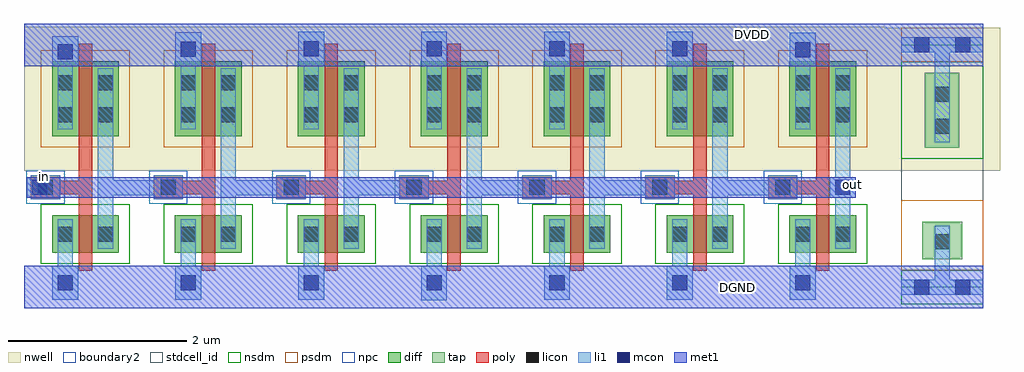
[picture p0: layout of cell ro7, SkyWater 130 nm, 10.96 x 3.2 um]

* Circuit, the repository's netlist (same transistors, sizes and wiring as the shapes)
* NGSPICE file created from ro7.ext - technology: sky130A

.subckt ro7 out DGND DVDD
X0 a_n1815_125# out DVDD DVDD sky130_fd_pr__pfet_01v8 ad=0.252 pd=2.28 as=0.252 ps=2.28 w=0.84 l=0.15
X1 a_n1539_125# a_n1815_125# DGND DGND sky130_fd_pr__nfet_01v8 ad=0.126 pd=1.44 as=0.126 ps=1.44 w=0.42 l=0.15
X2 a_n1539_125# a_n1815_125# DVDD DVDD sky130_fd_pr__pfet_01v8 ad=0.252 pd=2.28 as=0.252 ps=2.28 w=0.84 l=0.15
X3 a_n1263_125# a_n1539_125# DGND DGND sky130_fd_pr__nfet_01v8 ad=0.126 pd=1.44 as=0.126 ps=1.44 w=0.42 l=0.15
X4 a_n1263_125# a_n1539_125# DVDD DVDD sky130_fd_pr__pfet_01v8 ad=0.252 pd=2.28 as=0.252 ps=2.28 w=0.84 l=0.15
X5 a_n987_125# a_n1263_125# DGND DGND sky130_fd_pr__nfet_01v8 ad=0.126 pd=1.44 as=0.126 ps=1.44 w=0.42 l=0.15
X6 a_n987_125# a_n1263_125# DVDD DVDD sky130_fd_pr__pfet_01v8 ad=0.252 pd=2.28 as=0.252 ps=2.28 w=0.84 l=0.15
X7 a_n711_125# a_n987_125# DVDD DVDD sky130_fd_pr__pfet_01v8 ad=0.252 pd=2.28 as=0.252 ps=2.28 w=0.84 l=0.15
X8 a_n711_125# a_n987_125# DGND DGND sky130_fd_pr__nfet_01v8 ad=0.126 pd=1.44 as=0.126 ps=1.44 w=0.42 l=0.15
X9 a_n435_125# a_n711_125# DGND DGND sky130_fd_pr__nfet_01v8 ad=0.126 pd=1.44 as=0.126 ps=1.44 w=0.42 l=0.15
X10 a_n435_125# a_n711_125# DVDD DVDD sky130_fd_pr__pfet_01v8 ad=0.252 pd=2.28 as=0.252 ps=2.28 w=0.84 l=0.15
X11 out a_n435_125# DGND DGND sky130_fd_pr__nfet_01v8 ad=0.126 pd=1.44 as=0.126 ps=1.44 w=0.42 l=0.15
X12 out a_n435_125# DVDD DVDD sky130_fd_pr__pfet_01v8 ad=0.252 pd=2.28 as=0.252 ps=2.28 w=0.84 l=0.15
X13 a_n1815_125# out DGND DGND sky130_fd_pr__nfet_01v8 ad=0.126 pd=1.44 as=0.126 ps=1.44 w=0.42 l=0.15
.ends

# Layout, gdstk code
import gdstk
lib = gdstk.Library(unit=1e-6, precision=1e-09)
def R(c, l, rs):  # rectangles x0, y0, x1, y1
    for r in rs: c.add(gdstk.rectangle(r[:2], r[2:], *l))
nwell = (64, 20)
diff = (65, 20)
tap = (65, 44)
poly = (66, 20)
licon = (66, 44)
li1 = (67, 20)
mcon = (67, 44)
met1 = (68, 20)
stdcell_id = (81, 4)
nsdm = (93, 44)
psdm = (94, 20)
npc = (95, 20)
boundary2 = (236, 0)

tap_ = lib.new_cell('tap')
R(tap_, nwell, [(-0.19,1.305,1.11,2.91)])
R(tap_, tap, [(0.235,0.315,0.685,0.735), (0.265,1.565,0.655,2.405)])
R(tap_, licon, [(0.375,0.425,0.545,0.595), (0.375,1.72,0.545,1.89), (0.375,2.08,0.545,2.25)])
R(tap_, li1, [(0,-0.085,0.92,0.085), (0.375,0,0.545,0.69), (0.375,1.625,0.545,2.72), (0,2.635,0.92,2.805)])
R(tap_, mcon, [(0.145,-0.085,0.315,0.085), (0.605,-0.085,0.775,0.085), (0.145,2.635,0.315,2.805), (0.605,2.635,0.775,2.805)])
R(tap_, met1, [(0,-0.24,0.92,0.24), (0,2.48,0.92,2.96)])
R(tap_, stdcell_id, [(0,0,0.92,2.72)])
R(tap_, nsdm, [(0,-0.19,0.92,0.19), (0,1.44,0.92,2.53)])
R(tap_, psdm, [(0,0.19,0.92,0.975), (0,2.53,0.92,2.91)])
R(tap_, boundary2, [(0,0,0.92,2.72)])
tap_.add(gdstk.Label('tap', (0,0), layer=83, texttype=44))

pfet = lib.new_cell('pfet')
R(pfet, nwell, [(-0.315,-0.39,1.065,1.23)])
R(pfet, diff, [(0,0,0.75,0.84)])
R(pfet, poly, [(0.3,-0.2,0.45,1.04)])
R(pfet, licon, [(0.065,0.155,0.235,0.325), (0.515,0.155,0.685,0.325), (0.065,0.515,0.235,0.685), (0.515,0.515,0.685,0.685)])
R(pfet, li1, [(0.065,0.075,0.235,0.765), (0.515,0.075,0.685,0.765)])
R(pfet, psdm, [(-0.125,-0.125,0.875,0.965)])

nfet = lib.new_cell('nfet')
R(nfet, diff, [(0,0,0.75,0.42)])
R(nfet, poly, [(0.3,-0.2,0.45,0.62)])
R(nfet, licon, [(0.065,0.125,0.235,0.295), (0.515,0.125,0.685,0.295)])
R(nfet, li1, [(0.065,0.045,0.235,0.375), (0.515,0.045,0.685,0.375)])
R(nfet, nsdm, [(-0.125,-0.125,0.875,0.545)])

vias_gen = lib.new_cell('vias_gen')
R(vias_gen, li1, [(0,0,0.29,0.335)])
R(vias_gen, mcon, [(0.06,0.08,0.23,0.25)])
R(vias_gen, met1, [(0,0,0.29,0.335)])

vias_gen_1 = lib.new_cell('vias_gen$1')
R(vias_gen_1, li1, [(0,0,0.29,0.38)])
R(vias_gen_1, mcon, [(0.06,0.105,0.23,0.275)])
R(vias_gen_1, met1, [(0,0,0.29,0.38)])

vias_gen_2 = lib.new_cell('vias_gen$2')
R(vias_gen_2, li1, [(0,0,0.29,0.385)])
R(vias_gen_2, mcon, [(0.06,0.11,0.23,0.28)])
R(vias_gen_2, met1, [(0,0,0.29,0.385)])

vias_gen_3 = lib.new_cell('vias_gen$3')
R(vias_gen_3, li1, [(0,0,0.29,0.375)])
R(vias_gen_3, mcon, [(0.06,0.1,0.23,0.27)])
R(vias_gen_3, met1, [(0,0,0.29,0.375)])

vias_gen_4 = lib.new_cell('vias_gen$4')
R(vias_gen_4, poly, [(0,0,0.33,0.27)])
R(vias_gen_4, licon, [(0.08,0.05,0.25,0.22)])
R(vias_gen_4, li1, [(0,0,0.33,0.27)])
R(vias_gen_4, npc, [(-0.05,-0.05,0.38,0.32)])

vias_gen_5 = lib.new_cell('vias_gen$5')
R(vias_gen_5, li1, [(0,0,0.29,0.23)])
R(vias_gen_5, mcon, [(0.06,0.03,0.23,0.2)])
R(vias_gen_5, met1, [(0,0,0.29,0.23)])

ro7 = lib.new_cell('ro7')
ro7.add(gdstk.FlexPath([(-9.375,2.7),(-9.375,3.055)], 0.17, ends="flush", simple_path=True, layer=67, datatype=20))  # li1
ro7.add(gdstk.FlexPath([(-7.995,2.7),(-7.995,3.1)], 0.17, ends="flush", simple_path=True, layer=67, datatype=20))  # li1
ro7.add(gdstk.FlexPath([(-6.615,2.7),(-6.615,3.105)], 0.17, ends="flush", simple_path=True, layer=67, datatype=20))  # li1
ro7.add(gdstk.FlexPath([(-5.235,2.7),(-5.235,3.105)], 0.17, ends="flush", simple_path=True, layer=67, datatype=20))  # li1
ro7.add(gdstk.FlexPath([(-3.855,2.7),(-3.855,3.105)], 0.17, ends="flush", simple_path=True, layer=67, datatype=20))  # li1
ro7.add(gdstk.FlexPath([(-2.475,2.7),(-2.475,3.105)], 0.17, ends="flush", simple_path=True, layer=67, datatype=20))  # li1
ro7.add(gdstk.FlexPath([(-1.095,2.7),(-1.095,3.095)], 0.17, ends="flush", simple_path=True, layer=67, datatype=20))  # li1
ro7.add(gdstk.FlexPath([(-8.925,2.01),(-8.925,1)], 0.17, ends="flush", simple_path=True, layer=67, datatype=20))  # li1
ro7.add(gdstk.FlexPath([(-7.545,2.01),(-7.545,1)], 0.17, ends="flush", simple_path=True, layer=67, datatype=20))  # li1
ro7.add(gdstk.FlexPath([(-6.165,2.01),(-6.165,1)], 0.17, ends="flush", simple_path=True, layer=67, datatype=20))  # li1
ro7.add(gdstk.FlexPath([(-4.785,2.01),(-4.785,1)], 0.17, ends="flush", simple_path=True, layer=67, datatype=20))  # li1
ro7.add(gdstk.FlexPath([(-3.405,2.01),(-3.405,1)], 0.17, ends="flush", simple_path=True, layer=67, datatype=20))  # li1
ro7.add(gdstk.FlexPath([(-2.025,2.01),(-2.025,1)], 0.17, ends="flush", simple_path=True, layer=67, datatype=20))  # li1
ro7.add(gdstk.FlexPath([(-0.645,2.01),(-0.645,1)], 0.17, ends="flush", simple_path=True, layer=67, datatype=20))  # li1
ro7.add(gdstk.FlexPath([(-9.375,0.67),(-9.375,0.1)], 0.17, ends="flush", simple_path=True, layer=67, datatype=20))  # li1
ro7.add(gdstk.FlexPath([(-7.995,0.67),(-7.995,0.1)], 0.17, ends="flush", simple_path=True, layer=67, datatype=20))  # li1
ro7.add(gdstk.FlexPath([(-6.615,0.67),(-6.615,0.1)], 0.17, ends="flush", simple_path=True, layer=67, datatype=20))  # li1
ro7.add(gdstk.FlexPath([(-5.235,0.67),(-5.235,0.095)], 0.17, ends="flush", simple_path=True, layer=67, datatype=20))  # li1
ro7.add(gdstk.FlexPath([(-3.855,0.67),(-3.855,0.1)], 0.17, ends="flush", simple_path=True, layer=67, datatype=20))  # li1
ro7.add(gdstk.FlexPath([(-2.475,0.67),(-2.475,0.1)], 0.17, ends="flush", simple_path=True, layer=67, datatype=20))  # li1
ro7.add(gdstk.FlexPath([(-1.095,0.67),(-1.095,0.1)], 0.17, ends="flush", simple_path=True, layer=67, datatype=20))  # li1
ro7.add(gdstk.FlexPath([(-8.84,1.355),(-8.135,1.355)], 0.17, ends="flush", simple_path=True, layer=67, datatype=20))  # li1
ro7.add(gdstk.FlexPath([(-7.46,1.355),(-6.755,1.355)], 0.17, ends="flush", simple_path=True, layer=67, datatype=20))  # li1
ro7.add(gdstk.FlexPath([(-6.085,1.355),(-5.38,1.355)], 0.17, ends="flush", simple_path=True, layer=67, datatype=20))  # li1
ro7.add(gdstk.FlexPath([(-4.7,1.355),(-3.995,1.355)], 0.17, ends="flush", simple_path=True, layer=67, datatype=20))  # li1
ro7.add(gdstk.FlexPath([(-3.32,1.355),(-2.615,1.355)], 0.17, ends="flush", simple_path=True, layer=67, datatype=20))  # li1
ro7.add(gdstk.FlexPath([(-1.94,1.355),(-1.235,1.355)], 0.17, ends="flush", simple_path=True, layer=67, datatype=20))  # li1
ro7.add(gdstk.FlexPath([(-9.515,1.36),(-9.815,1.36)], 0.17, ends="flush", simple_path=True, layer=67, datatype=20))  # li1
ro7.add(gdstk.FlexPath([(0.01,0.24),(-9.835,0.24)], 0.48, ends="flush", simple_path=True, layer=68, datatype=20))  # met1
ro7.add(gdstk.FlexPath([(0.01,2.96),(-9.84,2.96)], 0.48, ends="flush", simple_path=True, layer=68, datatype=20))  # met1
ro7.add(gdstk.FlexPath([(-0.5,1.36),(-9.81,1.36),(-9.81,1.36)], 0.23, ends="flush", simple_path=True, layer=68, datatype=20))  # met1
ro7.add(gdstk.FlexPath([(-0.87,1.735),(-0.87,1.195)], 0.15, ends="flush", simple_path=True, layer=66, datatype=20))  # poly
ro7.add(gdstk.FlexPath([(-2.25,1.735),(-2.25,1.205)], 0.15, ends="flush", simple_path=True, layer=66, datatype=20))  # poly
ro7.add(gdstk.FlexPath([(-3.63,1.735),(-3.63,1.2)], 0.15, ends="flush", simple_path=True, layer=66, datatype=20))  # poly
ro7.add(gdstk.FlexPath([(-5.01,1.735),(-5.01,1.195)], 0.15, ends="flush", simple_path=True, layer=66, datatype=20))  # poly
ro7.add(gdstk.FlexPath([(-6.39,1.735),(-6.39,1.205)], 0.15, ends="flush", simple_path=True, layer=66, datatype=20))  # poly
ro7.add(gdstk.FlexPath([(-7.77,1.735),(-7.77,1.215)], 0.15, ends="flush", simple_path=True, layer=66, datatype=20))  # poly
ro7.add(gdstk.FlexPath([(-9.15,1.735),(-9.15,1.195)], 0.15, ends="flush", simple_path=True, layer=66, datatype=20))  # poly
ro7.add(gdstk.FlexPath([(-9.225,1.36),(-9.685,1.36)], 0.15, ends="flush", simple_path=True, layer=66, datatype=20))  # poly
ro7.add(gdstk.FlexPath([(-7.845,1.36),(-8.305,1.36)], 0.15, ends="flush", simple_path=True, layer=66, datatype=20))  # poly
ro7.add(gdstk.FlexPath([(-6.465,1.36),(-6.925,1.36)], 0.15, ends="flush", simple_path=True, layer=66, datatype=20))  # poly
ro7.add(gdstk.FlexPath([(-5.085,1.36),(-5.545,1.36)], 0.15, ends="flush", simple_path=True, layer=66, datatype=20))  # poly
ro7.add(gdstk.FlexPath([(-3.705,1.36),(-4.165,1.36)], 0.15, ends="flush", simple_path=True, layer=66, datatype=20))  # poly
ro7.add(gdstk.FlexPath([(-2.325,1.36),(-2.785,1.36)], 0.15, ends="flush", simple_path=True, layer=66, datatype=20))  # poly
ro7.add(gdstk.FlexPath([(-0.945,1.36),(-1.405,1.36)], 0.15, ends="flush", simple_path=True, layer=66, datatype=20))  # poly
ro7.add(gdstk.Reference(tap_, (0.01,0.24)))
ro7.add(gdstk.Reference(pfet, (-1.245,1.935)))
ro7.add(gdstk.Reference(pfet, (-4.005,1.935)))
ro7.add(gdstk.Reference(pfet, (-2.625,1.935)))
ro7.add(gdstk.Reference(pfet, (-5.385,1.935)))
ro7.add(gdstk.Reference(pfet, (-6.765,1.935)))
ro7.add(gdstk.Reference(pfet, (-8.145,1.935)))
ro7.add(gdstk.Reference(pfet, (-9.525,1.935)))
ro7.add(gdstk.Reference(nfet, (-2.625,0.625)))
ro7.add(gdstk.Reference(nfet, (-4.005,0.625)))
ro7.add(gdstk.Reference(nfet, (-5.385,0.625)))
ro7.add(gdstk.Reference(nfet, (-6.765,0.625)))
ro7.add(gdstk.Reference(nfet, (-8.145,0.625)))
ro7.add(gdstk.Reference(vias_gen, (-9.52,2.72)))
ro7.add(gdstk.Reference(vias_gen_1, (-8.14,2.72)))
ro7.add(gdstk.Reference(vias_gen_2, (-6.76,2.72)))
ro7.add(gdstk.Reference(vias_gen_2, (-5.38,2.72)))
ro7.add(gdstk.Reference(vias_gen_2, (-4,2.72)))
ro7.add(gdstk.Reference(vias_gen_2, (-2.62,2.72)))
ro7.add(gdstk.Reference(vias_gen_3, (-1.24,2.72)))
ro7.add(gdstk.Reference(vias_gen_1, (-8.14,0.1)))
ro7.add(gdstk.Reference(vias_gen_1, (-9.52,0.1)))
ro7.add(gdstk.Reference(vias_gen_1, (-6.76,0.1)))
ro7.add(gdstk.Reference(vias_gen_2, (-5.38,0.095)))
ro7.add(gdstk.Reference(vias_gen_1, (-4,0.1)))
ro7.add(gdstk.Reference(vias_gen_1, (-2.62,0.1)))
ro7.add(gdstk.Reference(vias_gen_1, (-1.24,0.1)))
ro7.add(gdstk.Reference(vias_gen_4, (-9.765,1.225)))
ro7.add(gdstk.Reference(vias_gen_4, (-8.385,1.225)))
ro7.add(gdstk.Reference(nfet, (-9.525,0.625)))
ro7.add(gdstk.Reference(vias_gen_4, (-7.005,1.225)))
ro7.add(gdstk.Reference(vias_gen_4, (-5.625,1.225)))
ro7.add(gdstk.Reference(vias_gen_4, (-4.245,1.225)))
ro7.add(gdstk.Reference(vias_gen_4, (-2.865,1.225)))
ro7.add(gdstk.Reference(vias_gen_4, (-1.485,1.225)))
ro7.add(gdstk.Reference(nfet, (-1.245,0.625)))
ro7.add(gdstk.Reference(vias_gen_5, (-9.81,1.245)))
ro7.add(gdstk.Reference(vias_gen_5, (-0.79,1.245)))
ro7.add(gdstk.Label('in', (-9.61,1.48), layer=67, texttype=5))
ro7.add(gdstk.Label('out', (-0.54,1.39), layer=68, texttype=5))
ro7.add(gdstk.Label('DGND', (-1.83,0.24), layer=68, texttype=5))
ro7.add(gdstk.Label('DVDD', (-1.66,3.08), layer=68, texttype=5))

lib.write_gds('ro7.gds')
